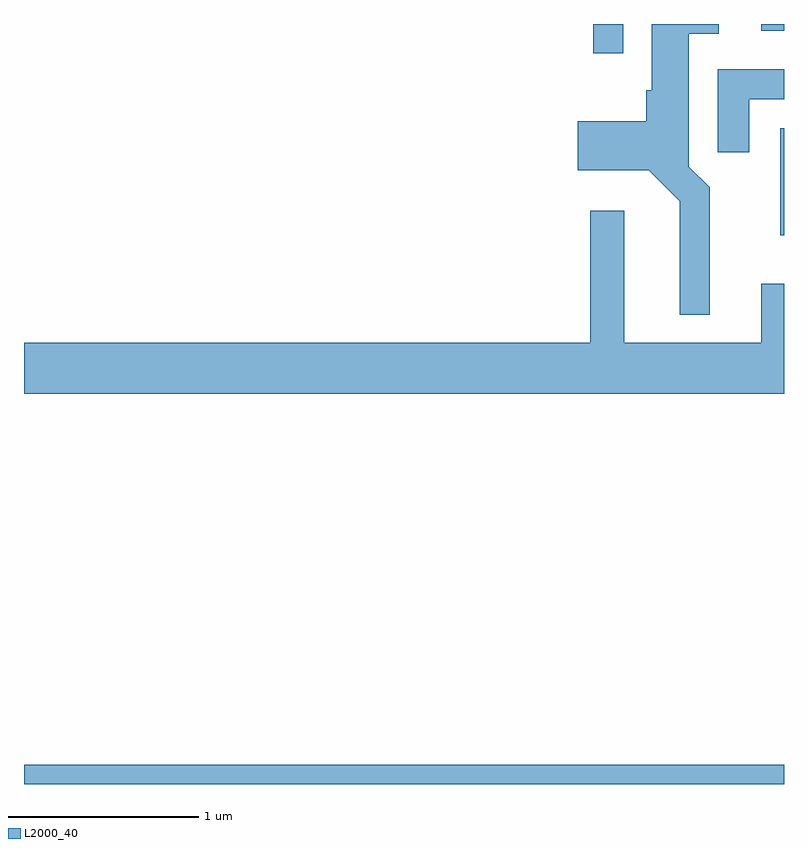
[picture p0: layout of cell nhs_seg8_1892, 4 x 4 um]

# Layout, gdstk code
import gdstk
lib = gdstk.Library(unit=1e-6, precision=1e-09)
def R(c, l, rs):  # rectangles x0, y0, x1, y1
    for r in rs: c.add(gdstk.rectangle(r[:2], r[2:], *l))
def P(c, l, *ps):  # polygons
    for p in ps: c.add(gdstk.Polygon(p, *l))
L2000_40 = (2000, 40)

nhs_seg8_1892 = lib.new_cell('nhs_seg8_1892')
R(nhs_seg8_1892, L2000_40, [(241.611,1854.342,245.611,1854.444), (245.591,1857.231,245.611,1857.794), (244.606,1858.188,244.764,1858.342), (245.491,1858.306,245.611,1858.342)])
P(nhs_seg8_1892, L2000_40, [(245.219,1857.482),(245.109,1857.592),(245.109,1858.291),(245.268,1858.291),(245.268,1858.342),(244.916,1858.342),(244.916,1857.994),(244.886,1857.994),(244.886,1857.829),(244.526,1857.829),(244.526,1857.571),(244.899,1857.571),(245.061,1857.409),(245.061,1856.813),(245.219,1856.813)],
  [(245.429,1857.946),(245.611,1857.946),(245.611,1858.104),(245.261,1858.104),(245.261,1857.668),(245.429,1857.668)],
  [(245.611,1856.974),(245.491,1856.974),(245.491,1856.664),(244.769,1856.664),(244.769,1857.359),(244.591,1857.359),(244.591,1856.664),(241.611,1856.664),(241.611,1856.396),(245.611,1856.396)])

lib.write_gds('nhs_seg8_1892.gds')
